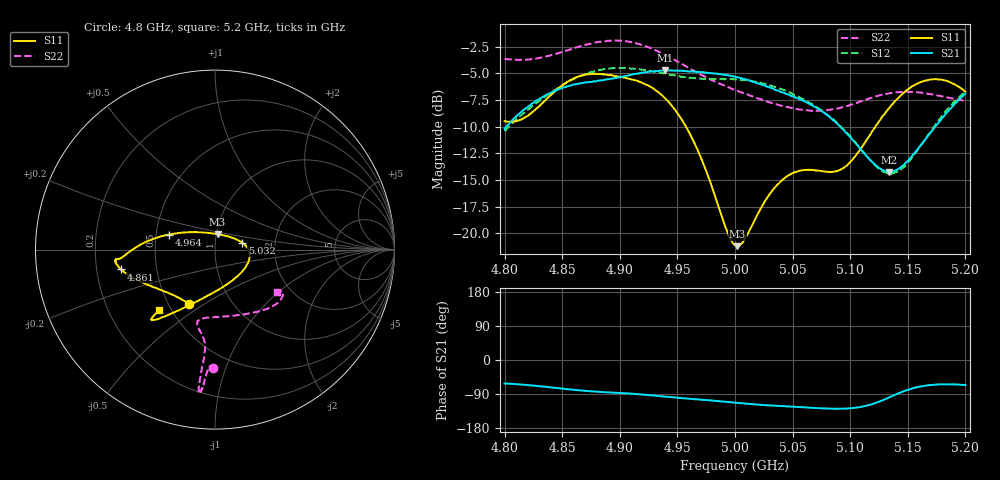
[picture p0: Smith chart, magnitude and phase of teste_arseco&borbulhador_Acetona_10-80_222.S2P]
! Network Analyzer HP8722D
! Hewlett-Packard
! Data name: Linha & Wilkinson
! Saver's name: Rodrigo Anjos
! Comments: Teste da utilização de aquisição
! continua pelo VNA HP8722D
! Time and date: 17/4/2025 16:12
!  Frequency  S11  S21  S12  S22
# HZ  S  MA R 50
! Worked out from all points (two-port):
!   401 points, 4.8 GHz to 5.2 GHz, reference 50 ohm
!   highest |S21| = -4.72 dB at 4.939 GHz (marker M1); lowest = -14.2 dB at 5.134 GHz (marker M2)
!   |S21| within 3 dB of the highest: 4.826 GHz to 5.062 GHz (236.3 MHz wide, 4.78 % of centre); 5.192217 GHz to end of sweep
!   lowest |S11| = -21.2 dB at 5.002 GHz (marker M3), VSWR 1.19, Z = 50.7 + j8.77 ohm
!   |S11| at or under -10 dB: 4.957 GHz to 5.122 GHz (164.5 MHz wide, 3.26 % of centre)
!   |S22| runs from -8.5 to -1.9 dB; largest |S21 - S12| = 0.87
!   S11 on the Smith chart (normalised r, x): 4.8 GHz: 0.63, -0.43; 4.861 GHz: 0.31, -0.09; 4.964 GHz: 0.58, +0.11; 5.032 GHz: 1.36, +0.11; 5.2 GHz: 0.43, -0.37
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4.8e9  0.3356 -116.0  0.3091 -62.0  0.3015 -176.0  0.6572 -90.7
4.819e9  0.3525 -136.2  0.3873 -65.8  0.3753 -175.3  0.652 -92.3
4.861e9  0.5354 -168.1  0.4986 -79.1  0.5321 -178.7  0.7397 -94.7
4.867e9  0.5484 -170.4  0.5062 -80.6  0.549 -179.9  0.7574 -94.8
4.9e9  0.5424 -174.4  0.5379 -86.9  0.5954 174.1  0.7995 -96.3
4.934e9  0.4559 179.7  0.577 -95.3  0.568 170.6  0.7069 -96.7
4.939e9  0.4306 177.6  0.5809 -96.4  0.5615 170.6  0.6883 -96.5
4.964e9  0.2703 161.9  0.5721 -103.2  0.5343 172.6  0.5785 -95.9
4.993e9  0.1027 114.1  0.5503 -110.6  0.5288 174.8  0.4868 -98.2
5e9  0.08818 88.8  0.5416 -112.5  0.5264 175.1  0.4694 -99.7
5.002e9  0.08699 80.7  0.5399 -113.0  0.5252 175.0  0.4655 -100.0
5.009e9  0.09502 55.8  0.5272 -115.1  0.5231 174.8  0.4503 -101.6
5.032e9  0.1573 14.0  0.4786 -120.1  0.4901 173.8  0.4081 -103.2
5.048e9  0.1889 -1.6  0.4436 -122.9  0.4552 173.0  0.3877 -99.5
5.067e9  0.1982 -21.8  0.3983 -126.1  0.4028 172.6  0.3755 -89.3
5.096e9  0.2057 -72.3  0.2979 -128.2  0.3002 174.7  0.3938 -66.8
5.121e9  0.3104 -110.2  0.2108 -114.5  0.2096 -169.8  0.4361 -49.8
5.134e9  0.3875 -120.3  0.194 -98.5  0.1904 -151.8  0.4531 -43.3
5.146e9  0.4535 -126.0  0.2081 -83.0  0.203 -133.8  0.4603 -38.7
5.168e9  0.5233 -131.4  0.2884 -66.8  0.2905 -112.9  0.4497 -33.0
5.184e9  0.5168 -132.7  0.3693 -64.1  0.3792 -108.1  0.4341 -31.9
5.2e9  0.4605 -132.7  0.4513 -66.2  0.4625 -108.0  0.4157 -34.4
